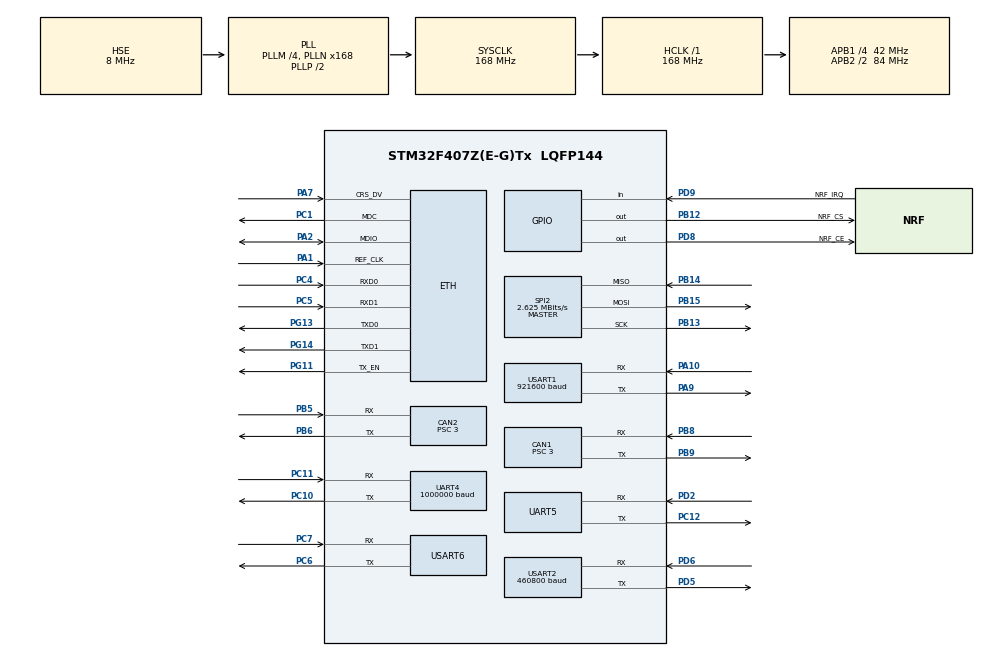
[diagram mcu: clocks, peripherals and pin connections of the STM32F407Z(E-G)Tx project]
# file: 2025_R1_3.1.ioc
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CAN1.BS1=CAN_BS1_9TQ
CAN1.BS2=CAN_BS2_4TQ
CAN1.CalculateBaudRate=1000000
CAN1.CalculateTimeBit=1000
CAN1.CalculateTimeQuantum=71.42857142857143
CAN1.Prescaler=3
CAN2.BS1=CAN_BS1_9TQ
CAN2.BS2=CAN_BS2_4TQ
CAN2.CalculateBaudRate=1000000
CAN2.CalculateTimeBit=1000
CAN2.CalculateTimeQuantum=71.42857142857143
CAN2.Prescaler=3
Dma.Request0=UART4_RX
Dma.Request1=UART4_TX
Dma.Request2=UART5_RX
Dma.Request3=UART5_TX
Dma.Request4=USART1_RX
Dma.Request5=USART1_TX
Dma.Request6=USART2_RX
Dma.Request7=USART2_TX
Dma.Request8=USART6_RX
Dma.Request9=USART6_TX
Dma.UART4_RX.0.Direction=DMA_PERIPH_TO_MEMORY
Dma.UART4_RX.0.FIFOMode=DMA_FIFOMODE_DISABLE
Dma.UART4_RX.0.Instance=DMA1_Stream2
Dma.UART4_RX.0.MemDataAlignment=DMA_MDATAALIGN_BYTE
Dma.UART4_RX.0.MemInc=DMA_MINC_ENABLE
Dma.UART4_RX.0.Mode=DMA_NORMAL
Dma.UART4_RX.0.PeriphDataAlignment=DMA_PDATAALIGN_BYTE
Dma.UART4_RX.0.PeriphInc=DMA_PINC_DISABLE
Dma.UART4_RX.0.Priority=DMA_PRIORITY_LOW
Dma.UART4_TX.1.Direction=DMA_MEMORY_TO_PERIPH
Dma.UART4_TX.1.FIFOMode=DMA_FIFOMODE_DISABLE
Dma.UART4_TX.1.Instance=DMA1_Stream4
Dma.UART4_TX.1.MemDataAlignment=DMA_MDATAALIGN_BYTE
Dma.UART4_TX.1.MemInc=DMA_MINC_ENABLE
Dma.UART4_TX.1.Mode=DMA_NORMAL
Dma.UART4_TX.1.PeriphDataAlignment=DMA_PDATAALIGN_BYTE
Dma.UART4_TX.1.PeriphInc=DMA_PINC_DISABLE
Dma.UART4_TX.1.Priority=DMA_PRIORITY_LOW
Dma.UART5_RX.2.Direction=DMA_PERIPH_TO_MEMORY
Dma.UART5_RX.2.FIFOMode=DMA_FIFOMODE_DISABLE
Dma.UART5_RX.2.Instance=DMA1_Stream0
Dma.UART5_RX.2.MemDataAlignment=DMA_MDATAALIGN_BYTE
Dma.UART5_RX.2.MemInc=DMA_MINC_ENABLE
Dma.UART5_RX.2.Mode=DMA_NORMAL
Dma.UART5_RX.2.PeriphDataAlignment=DMA_PDATAALIGN_BYTE
Dma.UART5_RX.2.PeriphInc=DMA_PINC_DISABLE
Dma.UART5_RX.2.Priority=DMA_PRIORITY_LOW
Dma.UART5_TX.3.Direction=DMA_MEMORY_TO_PERIPH
Dma.UART5_TX.3.FIFOMode=DMA_FIFOMODE_DISABLE
Dma.UART5_TX.3.Instance=DMA1_Stream7
Dma.UART5_TX.3.MemDataAlignment=DMA_MDATAALIGN_BYTE
Dma.UART5_TX.3.MemInc=DMA_MINC_ENABLE
Dma.UART5_TX.3.Mode=DMA_NORMAL
Dma.UART5_TX.3.PeriphDataAlignment=DMA_PDATAALIGN_BYTE
Dma.UART5_TX.3.PeriphInc=DMA_PINC_DISABLE
Dma.UART5_TX.3.Priority=DMA_PRIORITY_LOW
Dma.USART1_RX.4.Direction=DMA_PERIPH_TO_MEMORY
Dma.USART1_RX.4.FIFOMode=DMA_FIFOMODE_DISABLE
Dma.USART1_RX.4.Instance=DMA2_Stream2
Dma.USART1_RX.4.MemDataAlignment=DMA_MDATAALIGN_BYTE
Dma.USART1_RX.4.MemInc=DMA_MINC_ENABLE
Dma.USART1_RX.4.Mode=DMA_NORMAL
Dma.USART1_RX.4.PeriphDataAlignment=DMA_PDATAALIGN_BYTE
Dma.USART1_RX.4.PeriphInc=DMA_PINC_DISABLE
Dma.USART1_RX.4.Priority=DMA_PRIORITY_VERY_HIGH
Dma.USART1_TX.5.Direction=DMA_MEMORY_TO_PERIPH
Dma.USART1_TX.5.FIFOMode=DMA_FIFOMODE_DISABLE
Dma.USART1_TX.5.Instance=DMA2_Stream7
Dma.USART1_TX.5.MemDataAlignment=DMA_MDATAALIGN_BYTE
Dma.USART1_TX.5.MemInc=DMA_MINC_ENABLE
Dma.USART1_TX.5.Mode=DMA_NORMAL
Dma.USART1_TX.5.PeriphDataAlignment=DMA_PDATAALIGN_BYTE
Dma.USART1_TX.5.PeriphInc=DMA_PINC_DISABLE
Dma.USART1_TX.5.Priority=DMA_PRIORITY_VERY_HIGH
Dma.USART2_RX.6.Direction=DMA_PERIPH_TO_MEMORY
Dma.USART2_RX.6.FIFOMode=DMA_FIFOMODE_DISABLE
Dma.USART2_RX.6.Instance=DMA1_Stream5
Dma.USART2_RX.6.MemDataAlignment=DMA_MDATAALIGN_BYTE
Dma.USART2_RX.6.MemInc=DMA_MINC_ENABLE
Dma.USART2_RX.6.Mode=DMA_NORMAL
Dma.USART2_RX.6.PeriphDataAlignment=DMA_PDATAALIGN_BYTE
Dma.USART2_RX.6.PeriphInc=DMA_PINC_DISABLE
Dma.USART2_RX.6.Priority=DMA_PRIORITY_LOW
Dma.USART2_TX.7.Direction=DMA_MEMORY_TO_PERIPH
Dma.USART2_TX.7.FIFOMode=DMA_FIFOMODE_DISABLE
Dma.USART2_TX.7.Instance=DMA1_Stream6
Dma.USART2_TX.7.MemDataAlignment=DMA_MDATAALIGN_BYTE
Dma.USART2_TX.7.MemInc=DMA_MINC_ENABLE
Dma.USART2_TX.7.Mode=DMA_NORMAL
Dma.USART2_TX.7.PeriphDataAlignment=DMA_PDATAALIGN_BYTE
Dma.USART2_TX.7.PeriphInc=DMA_PINC_DISABLE
Dma.USART2_TX.7.Priority=DMA_PRIORITY_LOW
Dma.USART6_RX.8.Direction=DMA_PERIPH_TO_MEMORY
Dma.USART6_RX.8.FIFOMode=DMA_FIFOMODE_DISABLE
Dma.USART6_RX.8.Instance=DMA2_Stream1
Dma.USART6_RX.8.MemDataAlignment=DMA_MDATAALIGN_BYTE
Dma.USART6_RX.8.MemInc=DMA_MINC_ENABLE
Dma.USART6_RX.8.Mode=DMA_NORMAL
Dma.USART6_RX.8.PeriphDataAlignment=DMA_PDATAALIGN_BYTE
Dma.USART6_RX.8.PeriphInc=DMA_PINC_DISABLE
Dma.USART6_RX.8.Priority=DMA_PRIORITY_LOW
Dma.USART6_TX.9.Direction=DMA_MEMORY_TO_PERIPH
Dma.USART6_TX.9.FIFOMode=DMA_FIFOMODE_DISABLE
Dma.USART6_TX.9.Instance=DMA2_Stream6
Dma.USART6_TX.9.MemDataAlignment=DMA_MDATAALIGN_BYTE
Dma.USART6_TX.9.MemInc=DMA_MINC_ENABLE
Dma.USART6_TX.9.Mode=DMA_NORMAL
Dma.USART6_TX.9.PeriphDataAlignment=DMA_PDATAALIGN_BYTE
Dma.USART6_TX.9.PeriphInc=DMA_PINC_DISABLE
Dma.USART6_TX.9.Priority=DMA_PRIORITY_LOW
ETH.MediaInterface=HAL_ETH_RMII_MODE
ETH.RxBuffLen=1536
ETH.RxMode=ETH_RXINTERRUPT_MODE
FREERTOS.Tasks01=LWIP_TASK,24,256,Lwip_Task,Default,NULL,Dynamic,NULL,NULL;SYSTEM,8,128,System_Monitor,Default,NULL,Dynamic,NULL,NULL;LOCATION,25,256,Location_Task,Default,NULL,Dynamic,NULL,NULL;NAVIGATION,26,512,Navigation_Task,Default,NULL,Dynamic,NULL,NULL;MOTOR_CONTROL,27,256,Motor_Control,Default,NULL,Dynamic,NULL,NULL;REMOTE_CONTROL,24,256,Remote_Control,Default,NULL,Dynamic,NULL,NULL;FUN_TASK,28,1024,Fun_Task,Default,NULL,Dynamic,NULL,NULL;COMMUNICATION,29,256,Communication_Task,Default,NULL,Dynamic,NULL,NULL;GYRO_TASK,30,512,Gyro_Task,Default,NULL,Dynamic,NULL,NULL
FREERTOS.configTOTAL_HEAP_SIZE=32768
LWIP.BSP.number=1
LWIP.GATEWAY_ADDRESS=192.168.002.000
LWIP.IP_ADDRESS=192.168.002.001
LWIP.LWIP_DHCP=0
LWIP.LWIP_NETIF_STATUS_CALLBACK=1
LWIP.NETMASK_ADDRESS=255.255.255.000
LWIP.Version=v2.1.2_Cube
LWIP0.BSP.STBoard=false
LWIP0.BSP.api=BSP_COMPONENT_DRIVER
LWIP0.BSP.component=LAN8742
LWIP0.BSP.instance=LAN8742
LWIP0.BSP.name=Driver_PHY
LWIP0.BSP.semaphore=S_LAN8742
LWIP0.BSP.solution=LAN8742
Mcu.Family=STM32F4
Mcu.Name=STM32F407Z(E-G)Tx
Mcu.Package=LQFP144
NVIC.CAN1_RX0_IRQn=true\:5\:0\:false\:false\:true\:true\:true\:true\:true
NVIC.CAN2_RX0_IRQn=true\:5\:0\:false\:false\:true\:true\:true\:true\:true
NVIC.DMA1_Stream0_IRQn=true\:5\:0\:false\:false\:true\:true\:false\:true\:true
NVIC.DMA1_Stream2_IRQn=true\:5\:0\:false\:false\:true\:true\:false\:true\:true
NVIC.DMA1_Stream4_IRQn=true\:5\:0\:false\:false\:true\:true\:false\:true\:true
NVIC.DMA1_Stream5_IRQn=true\:5\:0\:false\:false\:true\:true\:false\:true\:true
NVIC.DMA1_Stream6_IRQn=true\:5\:0\:false\:false\:true\:true\:false\:true\:true
NVIC.DMA1_Stream7_IRQn=true\:5\:0\:false\:false\:true\:true\:false\:true\:true
NVIC.DMA2_Stream1_IRQn=true\:5\:0\:false\:false\:true\:true\:false\:true\:true
NVIC.DMA2_Stream2_IRQn=true\:5\:0\:false\:false\:true\:true\:false\:true\:true
NVIC.DMA2_Stream6_IRQn=true\:5\:0\:false\:false\:true\:true\:false\:true\:true
NVIC.DMA2_Stream7_IRQn=true\:5\:0\:true\:false\:true\:true\:false\:true\:true
NVIC.ETH_IRQn=true\:5\:0\:false\:false\:true\:true\:true\:true\:true
NVIC.PriorityGroup=NVIC_PRIORITYGROUP_4
NVIC.SPI2_IRQn=true\:5\:0\:false\:false\:true\:true\:true\:true\:true
NVIC.TIM4_IRQn=true\:5\:0\:false\:false\:true\:true\:true\:true\:true
NVIC.TIM5_IRQn=true\:15\:0\:false\:false\:true\:false\:false\:true\:true
NVIC.TimeBase=TIM5_IRQn
NVIC.TimeBaseIP=TIM5
NVIC.UART4_IRQn=true\:5\:0\:false\:false\:true\:true\:true\:true\:true
NVIC.UART5_IRQn=true\:5\:0\:false\:false\:true\:true\:true\:true\:true
NVIC.USART1_IRQn=true\:5\:0\:false\:false\:true\:true\:true\:true\:true
NVIC.USART2_IRQn=true\:5\:0\:false\:false\:true\:true\:true\:true\:true
NVIC.USART6_IRQn=true\:5\:0\:false\:false\:true\:true\:true\:true\:true
PA1.Mode=RMII
PA1.Signal=ETH_REF_CLK
PA10.GPIO_PuPd=GPIO_PULLUP
PA10.Mode=Asynchronous
PA10.Signal=USART1_RX
PA13.Mode=Serial_Wire
PA13.Signal=SYS_JTMS-SWDIO
PA14.Mode=Serial_Wire
PA14.Signal=SYS_JTCK-SWCLK
PA2.Mode=RMII
PA2.Signal=ETH_MDIO
PA7.Mode=RMII
PA7.Signal=ETH_CRS_DV
PA9.GPIO_PuPd=GPIO_PULLUP
PA9.Mode=Asynchronous
PA9.Signal=USART1_TX
PB12.GPIO_Label=NRF_CS
PB12.GPIO_Speed=GPIO_SPEED_FREQ_VERY_HIGH
PB12.PinState=GPIO_PIN_SET
PB12.Signal=GPIO_Output
PB13.Mode=Full_Duplex_Master
PB13.Signal=SPI2_SCK
PB14.Mode=Full_Duplex_Master
PB14.Signal=SPI2_MISO
PB15.Mode=Full_Duplex_Master
PB15.Signal=SPI2_MOSI
PB5.GPIO_PuPd=GPIO_PULLUP
PB5.Mode=CAN_Activate
PB5.Signal=CAN2_RX
PB6.GPIO_PuPd=GPIO_PULLUP
PB6.Mode=CAN_Activate
PB6.Signal=CAN2_TX
PB8.GPIO_PuPd=GPIO_PULLUP
PB8.Mode=CAN_Activate
PB8.Signal=CAN1_RX
PB9.GPIO_PuPd=GPIO_PULLUP
PB9.Mode=CAN_Activate
PB9.Signal=CAN1_TX
PC1.Mode=RMII
PC1.Signal=ETH_MDC
PC10.GPIO_PuPd=GPIO_PULLUP
PC10.Mode=Asynchronous
PC10.Signal=UART4_TX
PC11.GPIO_PuPd=GPIO_PULLUP
PC11.Mode=Asynchronous
PC11.Signal=UART4_RX
PC12.GPIO_PuPd=GPIO_PULLUP
PC12.Mode=Asynchronous
PC12.Signal=UART5_TX
PC4.Mode=RMII
PC4.Signal=ETH_RXD0
PC5.Mode=RMII
PC5.Signal=ETH_RXD1
PC6.GPIO_PuPd=GPIO_PULLUP
PC6.Mode=Asynchronous
PC6.Signal=USART6_TX
PC7.GPIO_PuPd=GPIO_PULLUP
PC7.Mode=Asynchronous
PC7.Signal=USART6_RX
PD2.GPIO_PuPd=GPIO_PULLUP
PD2.Mode=Asynchronous
PD2.Signal=UART5_RX
PD5.GPIO_PuPd=GPIO_PULLUP
PD5.Mode=Asynchronous
PD5.Signal=USART2_TX
PD6.GPIO_PuPd=GPIO_PULLUP
PD6.Mode=Asynchronous
PD6.Signal=USART2_RX
PD8.GPIO_Label=NRF_CE
PD8.GPIO_Speed=GPIO_SPEED_FREQ_VERY_HIGH
PD8.Signal=GPIO_Output
PD9.GPIO_Label=NRF_IRQ
PD9.GPIO_PuPd=GPIO_PULLUP
PD9.Signal=GPIO_Input
PG11.Mode=RMII
PG11.Signal=ETH_TX_EN
PG13.Mode=RMII
PG13.Signal=ETH_TXD0
PG14.Mode=RMII
PG14.Signal=ETH_TXD1
PH0-OSC_IN.Mode=HSE-External-Oscillator
PH0-OSC_IN.Signal=RCC_OSC_IN
PH1-OSC_OUT.Mode=HSE-External-Oscillator
PH1-OSC_OUT.Signal=RCC_OSC_OUT
ProjectManager.HeapSize=0x200
ProjectManager.StackSize=0x400
ProjectManager.TargetToolchain=MDK-ARM V5.32
RCC.48MHZClocksFreq_Value=84000000
RCC.AHBFreq_Value=168000000
RCC.APB1CLKDivider=RCC_HCLK_DIV4
RCC.APB1Freq_Value=42000000
RCC.APB1TimFreq_Value=84000000
RCC.APB2CLKDivider=RCC_HCLK_DIV2
RCC.APB2Freq_Value=84000000
RCC.APB2TimFreq_Value=168000000
RCC.CortexFreq_Value=168000000
RCC.HCLKFreq_Value=168000000
RCC.HSE_VALUE=8000000
RCC.HSI_VALUE=16000000
RCC.LSE_VALUE=32768
RCC.PLLM=4
RCC.PLLN=168
RCC.PLLSourceVirtual=RCC_PLLSOURCE_HSE
RCC.SYSCLKFreq_VALUE=168000000
RCC.SYSCLKSource=RCC_SYSCLKSOURCE_PLLCLK
RCC.VCOOutputFreq_Value=336000000
SPI2.BaudRatePrescaler=SPI_BAUDRATEPRESCALER_16
SPI2.CalculateBaudRate=2.625 MBits/s
SPI2.Direction=SPI_DIRECTION_2LINES
SPI2.Mode=SPI_MODE_MASTER
SPI2.VirtualType=VM_MASTER
TIM4.AutoReloadPreload=TIM_AUTORELOAD_PRELOAD_ENABLE
TIM4.Period=49
TIM4.Prescaler=1679
UART4.BaudRate=1000000
UART4.VirtualMode=Asynchronous
UART5.VirtualMode=Asynchronous
USART1.BaudRate=921600
USART1.VirtualMode=VM_ASYNC
USART2.BaudRate=460800
USART2.VirtualMode=VM_ASYNC
USART6.VirtualMode=VM_ASYNC
VP_FREERTOS_VS_CMSIS_V2.Mode=CMSIS_V2
VP_LWIP_VS_Enabled.Mode=Enabled
VP_SYS_VS_tim5.Mode=TIM5
VP_TIM4_VS_ClockSourceINT.Mode=Internal
board=custom

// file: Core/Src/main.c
/* USER CODE BEGIN Header */
/**
  ******************************************************************************
  * @file           : main.c
  * @brief          : Main program body
  ******************************************************************************
  * @attention
  *
  * Copyright (c) 2025 STMicroelectronics.
  * All rights reserved.
  *
  * This software is licensed under terms that can be found in the LICENSE file
  * in the root directory of this software component.
  * If no LICENSE file comes with this software, it is provided AS-IS.
  *
  ******************************************************************************
  */
/* USER CODE END Header */
#include "main.h"
#include "cmsis_os.h"
#include "can.h"
#include "dma.h"
#include "lwip.h"
#include "spi.h"
#include "tim.h"
#include "usart.h"
#include "gpio.h"

/* USER CODE BEGIN Includes */
#include "bsp_can.h"
#include "ROBOT.h"
#include "air_operated.h"
#include "gyro.h"
#include "NRF24L01.h"
/* USER CODE END Includes */

void SystemClock_Config(void);
void MX_FREERTOS_Init(void);

int main(void)
{

  /* MCU Configuration--------------------------------------------------------*/

  /* Reset of all peripherals, Initializes the Flash interface and the Systick. */
  HAL_Init();

  /* Configure the system clock */
  SystemClock_Config();

  /* Initialize all configured peripherals */
  MX_GPIO_Init();
  MX_DMA_Init();
  MX_CAN1_Init();
  MX_CAN2_Init();
  MX_TIM4_Init();
  MX_UART4_Init();
  MX_UART5_Init();
  MX_USART1_UART_Init();
  MX_USART2_UART_Init();
  MX_USART6_UART_Init();
  MX_SPI2_Init();
  /* USER CODE BEGIN 2 */
	__HAL_UART_ENABLE_IT(&huart1,UART_IT_IDLE);
	__HAL_UART_ENABLE_IT(&huart4,UART_IT_IDLE);
	__HAL_UART_ENABLE_IT(&huart5,UART_IT_IDLE);
	__HAL_UART_ENABLE_IT(&huart6,UART_IT_IDLE);

	__HAL_UART_DISABLE(&huart2);
  __HAL_UART_FLUSH_DRREGISTER(&huart2);
  __HAL_UART_CLEAR_OREFLAG(&huart2);
  HAL_UART_Receive_DMA(&huart2, (uint8_t *)g_uart_rx_buf, 512);
  __HAL_UART_ENABLE_IT(&huart2, UART_IT_IDLE);
  __HAL_UART_ENABLE(&huart2);

	can1_start();
	can2_start();

	ctrl_motor(&hcan2,0x41,&J60_Motor_Ctrl,0);
	HAL_TIM_Base_Start_IT(&htim4);

//	OPEN_VALVE_Plus(2);
  /* USER CODE END 2 */

  /* Init scheduler */
  osKernelInitialize();

  /* Call init function for freertos objects (in cmsis_os2.c) */
  MX_FREERTOS_Init();

  /* Start scheduler */
  osKernelStart();

  /* We should never get here as control is now taken by the scheduler */

  /* Infinite loop */
  while (1)
  {

  }
}

void SystemClock_Config(void)
{
  RCC_OscInitTypeDef RCC_OscInitStruct = {0};
  RCC_ClkInitTypeDef RCC_ClkInitStruct = {0};

  /** Configure the main internal regulator output voltage
  */
  __HAL_RCC_PWR_CLK_ENABLE();
  __HAL_PWR_VOLTAGESCALING_CONFIG(PWR_REGULATOR_VOLTAGE_SCALE1);

  /** Initializes the RCC Oscillators according to the specified parameters
  * in the RCC_OscInitTypeDef structure.
  */
  RCC_OscInitStruct.OscillatorType = RCC_OSCILLATORTYPE_HSE;
  RCC_OscInitStruct.HSEState = RCC_HSE_ON;
  RCC_OscInitStruct.PLL.PLLState = RCC_PLL_ON;
  RCC_OscInitStruct.PLL.PLLSource = RCC_PLLSOURCE_HSE;
  RCC_OscInitStruct.PLL.PLLM = 4;
  RCC_OscInitStruct.PLL.PLLN = 168;
  RCC_OscInitStruct.PLL.PLLP = RCC_PLLP_DIV2;
  RCC_OscInitStruct.PLL.PLLQ = 4;
  if (HAL_RCC_OscConfig(&RCC_OscInitStruct) != HAL_OK)
  {
    Error_Handler();
  }

  /** Initializes the CPU, AHB and APB buses clocks
  */
  RCC_ClkInitStruct.ClockType = RCC_CLOCKTYPE_HCLK|RCC_CLOCKTYPE_SYSCLK
                              |RCC_CLOCKTYPE_PCLK1|RCC_CLOCKTYPE_PCLK2;
  RCC_ClkInitStruct.SYSCLKSource = RCC_SYSCLKSOURCE_PLLCLK;
  RCC_ClkInitStruct.AHBCLKDivider = RCC_SYSCLK_DIV1;
  RCC_ClkInitStruct.APB1CLKDivider = RCC_HCLK_DIV4;
  RCC_ClkInitStruct.APB2CLKDivider = RCC_HCLK_DIV2;

  if (HAL_RCC_ClockConfig(&RCC_ClkInitStruct, FLASH_LATENCY_5) != HAL_OK)
  {
    Error_Handler();
  }
}

/* USER CODE BEGIN 4 */
int tim_sum;
/* USER CODE END 4 */

void HAL_TIM_PeriodElapsedCallback(TIM_HandleTypeDef *htim)
{
  /* USER CODE BEGIN Callback 0 */
	if (htim->Instance == TIM4)
	{
    if(nav.nav_state==NAV_PERMUTATION_PATH||nav.nav_state==NAV_AUTO_PATH)
			{
				nav.auto_path.run_time++;
				nav.auto_path.rotation_time++;
				nav.auto_path.run_Sumtime++;
			}
		tim_sum++;
		if(tim_sum==1000)
		{
			system_monitor.lwip_rec_fps = system_monitor.lwip_rec_cnt;
			system_monitor.lwip_rec_cnt = 0;

			system_monitor.lwip_send_fps = system_monitor.lwip_send_cnt;
			system_monitor.lwip_send_cnt = 0;

			system_monitor.can_send_fps = system_monitor.can_send_cnt;
			system_monitor.can_send_cnt = 0;

			system_monitor.location_fps = system_monitor.location_cnt;
			system_monitor.location_cnt = 0;

			system_monitor.navigation_fps = system_monitor.navigation_cnt;
			system_monitor.navigation_cnt = 0;

			system_monitor.fun_task_fps = system_monitor.fun_task_cnt;
			system_monitor.fun_task_cnt = 0;

			system_monitor.communication_fps = system_monitor.communication_cnt;
			system_monitor.communication_cnt = 0;
			tim_sum=0;
		}
  }
  /* USER CODE END Callback 0 */
  if (htim->Instance == TIM5) {
    HAL_IncTick();
  }
}

void Error_Handler(void)
{
  __disable_irq();
  while (1)
  {
  }
}

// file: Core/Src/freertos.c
/* USER CODE BEGIN Header */
/**
  ******************************************************************************
  * File Name          : freertos.c
  * Description        : Code for freertos applications
  ******************************************************************************
  * @attention
  *
  * Copyright (c) 2025 STMicroelectronics.
  * All rights reserved.
  *
  * This software is licensed under terms that can be found in the LICENSE file
  * in the root directory of this software component.
  * If no LICENSE file comes with this software, it is provided AS-IS.
  *
  ******************************************************************************
  */
/* USER CODE END Header */

#include "FreeRTOS.h"
#include "task.h"
#include "main.h"
#include "cmsis_os.h"

/* USER CODE BEGIN Includes */
#include "bsp_can.h"
#include "pid.h"
#include "ROBOT.h"
#include "navigation_task.h"
#include "chassis.h"
#include "locate.h"
#include "NRF24L01.h"
#include "remote_control.h"
#include "usart.h"
#include "air_operated.h"
#include "fun_task.h"
#include "servo.h"
#include "math_algorithm.h"
#include "LWIP_UDP_FreeRTOS.h"
#include "smc.h"
#include "vision_data_deal.h"
#include "vision_relocation.h"
#include "algorithm.h"
/* USER CODE END Includes */

/* Definitions for LWIP_TASK */
osThreadId_t LWIP_TASKHandle;
const osThreadAttr_t LWIP_TASK_attributes = {
  .name = "LWIP_TASK",
  .stack_size = 256 * 4,
  .priority = (osPriority_t) osPriorityNormal,
};
/* Definitions for SYSTEM */
osThreadId_t SYSTEMHandle;
const osThreadAttr_t SYSTEM_attributes = {
  .name = "SYSTEM",
  .stack_size = 128 * 4,
  .priority = (osPriority_t) osPriorityLow,
};
/* Definitions for LOCATION */
osThreadId_t LOCATIONHandle;
const osThreadAttr_t LOCATION_attributes = {
  .name = "LOCATION",
  .stack_size = 256 * 4,
  .priority = (osPriority_t) osPriorityNormal1,
};
/* Definitions for NAVIGATION */
osThreadId_t NAVIGATIONHandle;
const osThreadAttr_t NAVIGATION_attributes = {
  .name = "NAVIGATION",
  .stack_size = 512 * 4,
  .priority = (osPriority_t) osPriorityNormal2,
};
/* Definitions for MOTOR_CONTROL */
osThreadId_t MOTOR_CONTROLHandle;
const osThreadAttr_t MOTOR_CONTROL_attributes = {
  .name = "MOTOR_CONTROL",
  .stack_size = 256 * 4,
  .priority = (osPriority_t) osPriorityNormal3,
};
/* Definitions for REMOTE_CONTROL */
osThreadId_t REMOTE_CONTROLHandle;
const osThreadAttr_t REMOTE_CONTROL_attributes = {
  .name = "REMOTE_CONTROL",
  .stack_size = 256 * 4,
  .priority = (osPriority_t) osPriorityNormal,
};
/* Definitions for FUN_TASK */
osThreadId_t FUN_TASKHandle;
const osThreadAttr_t FUN_TASK_attributes = {
  .name = "FUN_TASK",
  .stack_size = 1024 * 4,
  .priority = (osPriority_t) osPriorityNormal4,
};
/* Definitions for COMMUNICATION */
osThreadId_t COMMUNICATIONHandle;
const osThreadAttr_t COMMUNICATION_attributes = {
  .name = "COMMUNICATION",
  .stack_size = 256 * 4,
  .priority = (osPriority_t) osPriorityNormal5,
};
/* Definitions for GYRO_TASK */
osThreadId_t GYRO_TASKHandle;
const osThreadAttr_t GYRO_TASK_attributes = {
  .name = "GYRO_TASK",
  .stack_size = 512 * 4,
  .priority = (osPriority_t) osPriorityNormal6,
};

void Lwip_Task(void *argument);
void System_Monitor(void *argument);
void Location_Task(void *argument);
void Navigation_Task(void *argument);
void Motor_Control(void *argument);
void Remote_Control(void *argument);
void Fun_Task(void *argument);
void Communication_Task(void *argument);
void Gyro_Task(void *argument);

extern void MX_LWIP_Init(void);
void MX_FREERTOS_Init(void); /* (MISRA C 2004 rule 8.1) */

void MX_FREERTOS_Init(void) {

  /* Create the thread(s) */
  /* creation of LWIP_TASK */
  LWIP_TASKHandle = osThreadNew(Lwip_Task, NULL, &LWIP_TASK_attributes);

  /* creation of SYSTEM */
  SYSTEMHandle = osThreadNew(System_Monitor, NULL, &SYSTEM_attributes);

  /* creation of LOCATION */
  LOCATIONHandle = osThreadNew(Location_Task, NULL, &LOCATION_attributes);

  /* creation of NAVIGATION */
  NAVIGATIONHandle = osThreadNew(Navigation_Task, NULL, &NAVIGATION_attributes);

  /* creation of MOTOR_CONTROL */
  MOTOR_CONTROLHandle = osThreadNew(Motor_Control, NULL, &MOTOR_CONTROL_attributes);

  /* creation of REMOTE_CONTROL */
  REMOTE_CONTROLHandle = osThreadNew(Remote_Control, NULL, &REMOTE_CONTROL_attributes);

  /* creation of FUN_TASK */
  FUN_TASKHandle = osThreadNew(Fun_Task, NULL, &FUN_TASK_attributes);

  /* creation of COMMUNICATION */
  COMMUNICATIONHandle = osThreadNew(Communication_Task, NULL, &COMMUNICATION_attributes);

  /* creation of GYRO_TASK */
  GYRO_TASKHandle = osThreadNew(Gyro_Task, NULL, &GYRO_TASK_attributes);

}

void Lwip_Task(void *argument)
{
  /* init code for LWIP */
  //MX_LWIP_Init();
  /* USER CODE BEGIN Lwip_Task */
  /* Infinite loop */
  for(;;)
  {
		//udp_task_run();
    vTaskDelay(pdMS_TO_TICKS(1));
  }
  /* USER CODE END Lwip_Task */
}

void System_Monitor(void *argument)
{
  /* USER CODE BEGIN System_Monitor */
  /* Infinite loop */
  for(;;)
  {
    // for(int i=0;i<2;i++)
	// 	{
	// 		system_monitor.can_rec_fps[i]=system_monitor.can_rec_cnt[i];
	// 		system_monitor.can_rec_cnt[i]=0;
	// 	}

	// 	system_monitor.motor_LU_fps=system_monitor.motor_LU_cnt;
	// 	system_monitor.motor_LU_cnt=0;

	// 	system_monitor.motor_RU_fps=system_monitor.motor_RU_cnt;
	// 	system_monitor.motor_RU_cnt=0;

	// 	system_monitor.motor_RD_fps=system_monitor.motor_RD_cnt;
	// 	system_monitor.motor_RD_cnt=0;

	// 	system_monitor.motor_LD_fps=system_monitor.motor_LD_cnt;
	// 	system_monitor.motor_LD_cnt=0;

	// 	system_monitor.Lift_Left_fps=system_monitor.Lift_Left_cnt;
	// 	system_monitor.Lift_Left_cnt=0;

	// 	system_monitor.Lift_Right_fps=system_monitor.Lift_Right_cnt;
	// 	system_monitor.Lift_Right_cnt=0;

	// 	system_monitor.Drib_Left_fps=system_monitor.Drib_Left_cnt;
	// 	system_monitor.Drib_Left_cnt=0;

	// 	system_monitor.Drib_Right_fps=system_monitor.Drib_Right_cnt;
	// 	system_monitor.Drib_Right_cnt=0;

	// 	system_monitor.motor_J60_fps=system_monitor.motor_J60_cnt;
	// 	system_monitor.motor_J60_cnt=0;

	// 	system_monitor.air_board_fps=system_monitor.air_board_cnt;
	// 	system_monitor.air_board_cnt=0;

	// 	system_monitor.uart1_fps=system_monitor.uart1_cnt;
	// 	system_monitor.uart1_cnt=0;

	// 	system_monitor.remote_control_fps=system_monitor.remote_control_cnt;
	// 	system_monitor.remote_control_cnt=0;

	// 	system_monitor.uart2_fps=system_monitor.uart2_cnt;
	// 	system_monitor.uart2_cnt=0;

	// 	system_monitor.gyro_fps=system_monitor.gyro_cnt;
	// 	system_monitor.gyro_cnt=0;

	// 	system_monitor.uart5_fps=system_monitor.uart5_cnt;
	// 	system_monitor.uart5_cnt=0;

	// 	if(system_monitor.motor_LU_fps > 1100 || system_monitor.motor_LU_fps < 900)
	// 		set_bit1(&nRF24L01_ack_pay.Ack_Buf[0],0);
	// 	else
	// 		set_bit0(&nRF24L01_ack_pay.Ack_Buf[0],0);

	// 	if(system_monitor.motor_RU_fps > 1100 || system_monitor.motor_RU_fps < 900)
	// 		set_bit1(&nRF24L01_ack_pay.Ack_Buf[0],1);
	// 	else
	// 		set_bit0(&nRF24L01_ack_pay.Ack_Buf[0],1);

	// 	if(system_monitor.motor_RD_fps > 1100 || system_monitor.motor_RD_fps < 900)
	// 		set_bit1(&nRF24L01_ack_pay.Ack_Buf[0],2);
	// 	else
	// 		set_bit0(&nRF24L01_ack_pay.Ack_Buf[0],2);

	// 	if(system_monitor.motor_LD_fps > 1100 || system_monitor.motor_LD_fps < 900)
	// 		set_bit1(&nRF24L01_ack_pay.Ack_Buf[0],3);
	// 	else
	// 		set_bit0(&nRF24L01_ack_pay.Ack_Buf[0],3);

	// 	if(system_monitor.Drib_Left_fps > 1100 || system_monitor.Drib_Left_fps < 900)
	// 		set_bit1(&nRF24L01_ack_pay.Ack_Buf[0],4);
	// 	else
	// 		set_bit0(&nRF24L01_ack_pay.Ack_Buf[0],4);

	// 	if(system_monitor.Drib_Right_fps > 1100 || system_monitor.Drib_Right_fps < 900)
	// 		set_bit1(&nRF24L01_ack_pay.Ack_Buf[0],5);
	// 	else
	// 		set_bit0(&nRF24L01_ack_pay.Ack_Buf[0],5);

	// 	if(system_monitor.motor_J60_fps > 1100 || system_monitor.motor_J60_fps < 900)
	// 		set_bit1(&nRF24L01_ack_pay.Ack_Buf[0],6);
	// 	else
	// 		set_bit0(&nRF24L01_ack_pay.Ack_Buf[0],6);

	// 	if(system_monitor.air_board_fps >220 || system_monitor.air_board_fps <180)
	// 		set_bit1(&nRF24L01_ack_pay.Ack_Buf[0],7);
	// 	else
	// 		set_bit0(&nRF24L01_ack_pay.Ack_Buf[0],7);

	// 	if(system_monitor.uart1_fps >1100 || system_monitor.uart1_fps <900)
	// 		set_bit1(&nRF24L01_ack_pay.Ack_Buf[1],0);
	// 	else
	// 		set_bit0(&nRF24L01_ack_pay.Ack_Buf[1],0);

	// 	if(system_monitor.lwip_rec_fps <180)
	// 		set_bit1(&nRF24L01_ack_pay.Ack_Buf[1],1);
	// 	else
	// 		set_bit0(&nRF24L01_ack_pay.Ack_Buf[1],1);

	// 	if(system_monitor.uart2_fps <180)
	// 		set_bit1(&nRF24L01_ack_pay.Ack_Buf[1],2);
	// 	else
	// 		set_bit0(&nRF24L01_ack_pay.Ack_Buf[1],2);
    vTaskDelay(pdMS_TO_TICKS(1000));
  }
  /* USER CODE END System_Monitor */
}

void Location_Task(void *argument)
{
  /* USER CODE BEGIN Location_Task */
  /* Infinite loop */
  for(;;)
  {
   Robot_Location(&stRobot,&stFollowerWheel);
		if(dt35_location>9)
		{
			DT35_relocation_new(&stRobot,&stFollowerWheel,&dt35_save,&dt35_now);
			dt35_location=0;
		}
		dt35_location++;
		Mid_360_location(&stRobot);
		UpdatePositionFeedback(&nav,&stRobot);
		PositionToVelt();
		system_monitor.location_cnt++;
    vTaskDelay(pdMS_TO_TICKS(1));
  }
  /* USER CODE END Location_Task */
}

void Navigation_Task(void *argument)
{
  /* USER CODE BEGIN Navigation_Task */
  /* Infinite loop */
  for(;;)
  {
		navigation();
		system_monitor.navigation_cnt++;
    vTaskDelay(pdMS_TO_TICKS(1));
  }
  /* USER CODE END Navigation_Task */
}

void Motor_Control(void *argument)
{
  /* USER CODE BEGIN Motor_Control */
  /* Infinite loop */
  for(;;)
  {
    if(nav.nav_state!=NAV_OFF)
		{
			PID_Calc_NEW(&chassis_run.rightdown);
			PID_Calc_NEW(&chassis_run.rightup);
			PID_Calc_NEW(&chassis_run.leftdown);
			PID_Calc_NEW(&chassis_run.leftup);

			chassis_run.leftup.fpU += friction_compensation_current.leftup + feed_forward_current.leftup;
			chassis_run.rightup.fpU += friction_compensation_current.rightup + feed_forward_current.rightup;
			chassis_run.rightdown.fpU += friction_compensation_current.rightdown + feed_forward_current.rightdown;
			chassis_run.leftdown.fpU += friction_compensation_current.leftdown + feed_forward_current.leftdown;
//			LESO_Order1(&leso_leftup,chassis_run.leftup.fpFB,chassis_run.leftup.fpU);
//			LESO_Order1(&leso_rightup,chassis_run.rightup.fpFB,chassis_run.rightup.fpU);
//			LESO_Order1(&leso_rightdown,chassis_run.rightdown.fpFB,chassis_run.rightdown.fpU);
//			LESO_Order1(&leso_leftdown,chassis_run.leftdown.fpFB,chassis_run.leftdown.fpU);
//
//			compensation_leftup = leso_leftup.U - leso_leftup.U0;
//			compensation_rightup = leso_rightup.U - leso_rightup.U0;
//			compensation_rightdown = leso_rightdown.U - leso_rightdown.U0;
//			compensation_leftdown = leso_leftdown.U - leso_leftdown.U0;
//
//			chassis_run.leftup.fpU += compensation_leftup + feed_forward_current.leftup;
//			chassis_run.rightup.fpU += compensation_rightup + feed_forward_current.rightup;
//			chassis_run.rightdown.fpU += compensation_rightdown + feed_forward_current.rightdown;;
//			chassis_run.leftdown.fpU += compensation_leftdown + feed_forward_current.leftdown;
		}
		CAN_SendCurrent(&hcan1,0x200,chassis_run.leftup.fpU,chassis_run.rightup.fpU,chassis_run.rightdown.fpU,chassis_run.leftdown.fpU);

//		Drib_Left_Smc.fpDes = Drib_Left_Targetv;
//		Drib_Right_Smc.fpDes = Drib_Right_Targetv;
//		Drib_Left_Smc.fpFB = Drib_Motor_Left.anglev;
//		Drib_Right_Smc.fpFB = Drib_Motor_Right.anglev;
//		CalSMC(&Drib_Left_Smc);
//		CalSMC(&Drib_Right_Smc);
		PID_Calc(&Drib_Left_Pid,Drib_Left_Targetv,Drib_Motor_Left.anglev);
		PID_Calc(&Drib_Right_Pid,Drib_Right_Targetv,Drib_Motor_Right.anglev);

		CAN_SendCurrent(&hcan2,0x200,Drib_Right_Pid.fpU,Drib_Left_Pid.fpU,0,0);
		CAN_SendCurrent(&hcan2,0x200,Drib_Right_Smc.fpU,Drib_Left_Smc.fpU,0,0);

		Lift_Left_td.aim = ClipFloat(Lift_target_pos,0,800);
		Lift_Right_td.aim = ClipFloat(-Lift_target_pos,-800,0);
		CalTD(&Lift_Left_td);
		CalTD(&Lift_Right_td);
		PID_CascadeCalc(&Lift_Left_Pid,Lift_Left_td.x1,Lift_Motor_Left.angle,Lift_Motor_Left.anglev);
		PID_CascadeCalc(&Lift_Right_Pid,Lift_Right_td.x1,Lift_Motor_Right.angle,Lift_Motor_Right.anglev);
		CAN_SendCurrent(&hcan1,0x1ff,Lift_Right_Pid.output,0,Lift_Left_Pid.output,0);

		J60_motor_control();
		ctrl_motor(&hcan2,0x81,&J60_Motor_Ctrl,8);
		if(fabs(J60_Motor_Data.torque_) > 25.f || J60_motor_temp > 85 || J60_board_temp >75)//电机持续扭矩过大或者过热时启动保护
		{
			J60_start_protect = 1;
		}
		else
		{
			J60_start_protect = 0;
			J60_protect_cnt = 0;
		}
		if(J60_start_protect == 1)
		{
			J60_protect_cnt++;
		}
		if(J60_protect_cnt>100)//电机状态不正常持续100ms时，失能J60
		{
//			ctrl_motor(&hcan2,0x21,&J60_Motor_Ctrl,0);
			J60_Ctrl_Mode = NO_TORQUE_MODE;
		}
// 		system_monitor.can_send_cnt++;

    vTaskDelay(pdMS_TO_TICKS(1));
  }
  /* USER CODE END Motor_Control */
}

void Remote_Control(void *argument)
{
  /* USER CODE BEGIN Remote_Control */

  /* Infinite loop */
  for(;;)
  {
  	if(!NRF24L01_Check()&&!FLAG_NRF)
	  {
		  NRF24L01_RX_Mode();
		  FLAG_NRF = 1;
   	}
    if(FLAG_NRF==1)
		{
			nRF24L01_ack_pay.Ack_Channel = 0;
			nRF24L01_ack_pay.Ack_Status = 3;
			nRF24L01_ack_pay.Ack_Len = ACK_PLOAD_WIDTH;
			int rx_len = NRF24L01_RxPacket(nRF24L01_RxBuf);

			if(rx_len < 32) //持续断连则视为断连
				RC_Ctrl.normal_rc_disconnect_cnt++;
			else
			{
				RC_Ctrl.normal_rc_disconnect_cnt = 0;
				RC_Ctrl.normal_rc_status = CONNECT;
			}
			if(RC_Ctrl.normal_rc_disconnect_cnt > 300)
			{
				RC_Ctrl.normal_rc_status = DISCONNECT;//已发生断连
				FLAG_NRF = 0;//自动尝试重连
			}
			NRF24L01_Rx_AckPayload(nRF24L01_ack_pay);

			parseDataPacket(nRF24L01_RxBuf,&Js_Value);
			if(RC_Ctrl.rc_mode == NORMAL_RC_OPENED)
			{
				Read_Key_Task();
			}
			system_monitor.remote_control_cnt++;
		}
    vTaskDelay(pdMS_TO_TICKS(1));
  }
  /* USER CODE END Remote_Control */
}

void Fun_Task(void *argument)
{
  /* USER CODE BEGIN Fun_Task */
  /* Infinite loop */
  for(;;)
  {
		// Fun_task();
		// system_monitor.fun_task_cnt++;
    vTaskDelay(pdMS_TO_TICKS(1));
  }
  /* USER CODE END Fun_Task */
}

/* USER CODE BEGIN Header_Communication_Task */
/**
* @brief Function implementing the COMMUNICATION thread.
* @param argument: Not used
* @retval None
*/
u8 uart1_tx[sizeof(uart1_eft)];
/* USER CODE END Header_Communication_Task */
void Communication_Task(void *argument)
{
  /* USER CODE BEGIN Communication_Task */
  /* Infinite loop */
  for(;;)
  {
// 		if(system_monitor.lwip_rec_fps <180)
// 			RC_Ctrl.vision_rc_status = DISCONNECT;
// 		else
// 			RC_Ctrl.vision_rc_status = CONNECT;

// 		RC_switch(&RC_Ctrl);

// 		static u8 radar_relocate;
// 		memcpy(&Vision_Data,UDP_rx_data,32);
// 		memcpy(&Vision_Data.nav_flag,&UDP_rx_data[32],1);
// 		memcpy(&Vision_Data.aim_chassis_yaw,&UDP_rx_data[33],40);
// 		vision_deal();
// 		radar_relocate++;
// 		if(radar_relocate > 4)
// 		{
// //			Vision_Relocation();
// 			radar_relocate = 0;
// 		}
// 		if(RC_Ctrl.rc_mode == VISION_RC_OPENED)
// 		{
// 			Vision_RC();
// 		}

//     uart1_eft.num[0] = Js_Value.indepen_usJsKey[0];
// 		uart1_eft.num[1] = Js_Value.indepen_usJsKey[1];
// 		uart1_eft.num[2] = Js_Value.usJsKey;
// 		memcpy(&uart1_eft.num[7],&Vision_Data.aim_gimbal_yaw,12);

// 		memcpy(uart1_tx,&uart1_eft,sizeof(uart1_eft));
// 		HAL_UART_Transmit(&huart1,uart1_tx,sizeof(uart1_eft),1);

// 		/************ң����*************/
// 		send_remote_control();

// //		/************����ͨ��***************/
// //		memcpy(UDP_tx_data,&dt35_now.dt35_x1,16);
// //		memcpy(&UDP_tx_data[16],&stRobot,12);

// //		/************VOFA+*************/
// 		G_vofa_watch();
// 		u8 vofa_tx[sizeof(vofa)];
// 		memcpy(vofa_tx,&vofa,sizeof(vofa));
// 		HAL_UART_Transmit_DMA(&huart6,vofa_tx,sizeof(vofa));

// 		system_monitor.communication_cnt++;
    vTaskDelay(pdMS_TO_TICKS(1));
  }
  /* USER CODE END Communication_Task */
}

void Gyro_Task(void *argument)
{
  /* USER CODE BEGIN Gyro_Task */
  /* Infinite loop */
  for(;;)
  {
    if(g_uart_rx_cnt > 0)
		{
			memcpy(g_decode_data + g_decode_data_pos, g_uart_rx_buf, g_uart_rx_cnt);
			g_decode_data_pos += g_uart_rx_cnt;
			g_uart_rx_cnt = 0;
		}
		if(g_decode_data_pos > 0)
		{
			analysis_data(g_decode_data, g_decode_data_pos);

			system_monitor.gyro_cnt++;

		}
		vTaskDelay(pdMS_TO_TICKS(2));
  }
  /* USER CODE END Gyro_Task */
}
